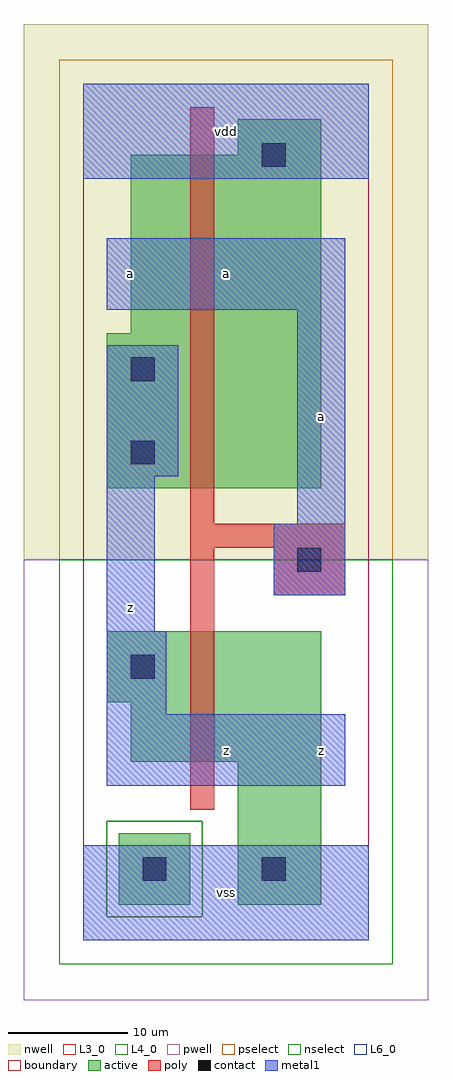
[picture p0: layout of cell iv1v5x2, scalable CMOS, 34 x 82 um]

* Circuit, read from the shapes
.subckt iv1v5x2 a vdd vss z
M1 vss a z vss nfet w=11u l=2u
M2 vdd a z n1 pfet w=28u l=2u
.ends

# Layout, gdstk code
import gdstk
lib = gdstk.Library(unit=1e-6, precision=1e-09)
def R(c, l, rs):  # rectangles x0, y0, x1, y1
    for r in rs: c.add(gdstk.rectangle(r[:2], r[2:], *l))
L3_0 = (3, 0)
L4_0 = (4, 0)
L6_0 = (6, 0)
contact = (25, 0)
pwell = (41, 0)
nwell = (42, 0)
active = (43, 0)
pselect = (44, 0)
nselect = (45, 0)
poly = (46, 0)
metal1 = (49, 0)
boundary = (63, 0)

iv1v5x2 = lib.new_cell('iv1v5x2')
R(iv1v5x2, L3_0, [(13,3,20,15), (4,15,20,20), (2,20,20,26)])
R(iv1v5x2, L4_0, [(2,38,20,51), (4,51,20,66), (13,66,20,69)])
R(iv1v5x2, L6_0, [(3,3,9,9)])
R(iv1v5x2, contact, [(5,5,7,7), (15,5,17,7), (4,22,6,24), (18,31,20,33), (4,40,6,42), (4,47,6,49), (15,65,17,67)])
R(iv1v5x2, pwell, [(-5,-5,29,32)])
R(iv1v5x2, nwell, [(-5,32,29,77)])
R(iv1v5x2, active, [(3,3,9,9), (13,3,20,15), (4,15,20,20), (2,20,20,26), (2,38,20,51), (4,51,20,66), (13,66,20,69)])
R(iv1v5x2, pselect, [(2,2,10,10), (-2,32,26,74)])
R(iv1v5x2, nselect, [(-2,-2,26,2), (-2,2,2,10), (10,2,26,10), (-2,10,26,32)])
R(iv1v5x2, poly, [(9,11,11,33), (16,29,22,33), (9,33,22,35), (9,35,11,70)])
R(iv1v5x2, metal1, [(0,0,24,8), (2,13,22,19), (2,19,7,26), (2,26,6,39), (16,29,22,35), (18,35,22,53), (2,39,8,50), (2,53,22,59), (0,64,24,72)])
R(iv1v5x2, boundary, [(0,0,24,72)])
iv1v5x2.add(gdstk.Label('z', (4,28), layer=49, texttype=0))
iv1v5x2.add(gdstk.Label('a', (4,56), layer=49, texttype=0))
iv1v5x2.add(gdstk.Label('vss', (12,4), layer=49, texttype=0))
iv1v5x2.add(gdstk.Label('z', (12,16), layer=49, texttype=0))
iv1v5x2.add(gdstk.Label('a', (12,56), layer=49, texttype=0))
iv1v5x2.add(gdstk.Label('vdd', (12,68), layer=49, texttype=0))
iv1v5x2.add(gdstk.Label('z', (20,16), layer=49, texttype=0))
iv1v5x2.add(gdstk.Label('a', (20,44), layer=49, texttype=0))

lib.write_gds('iv1v5x2.gds')
